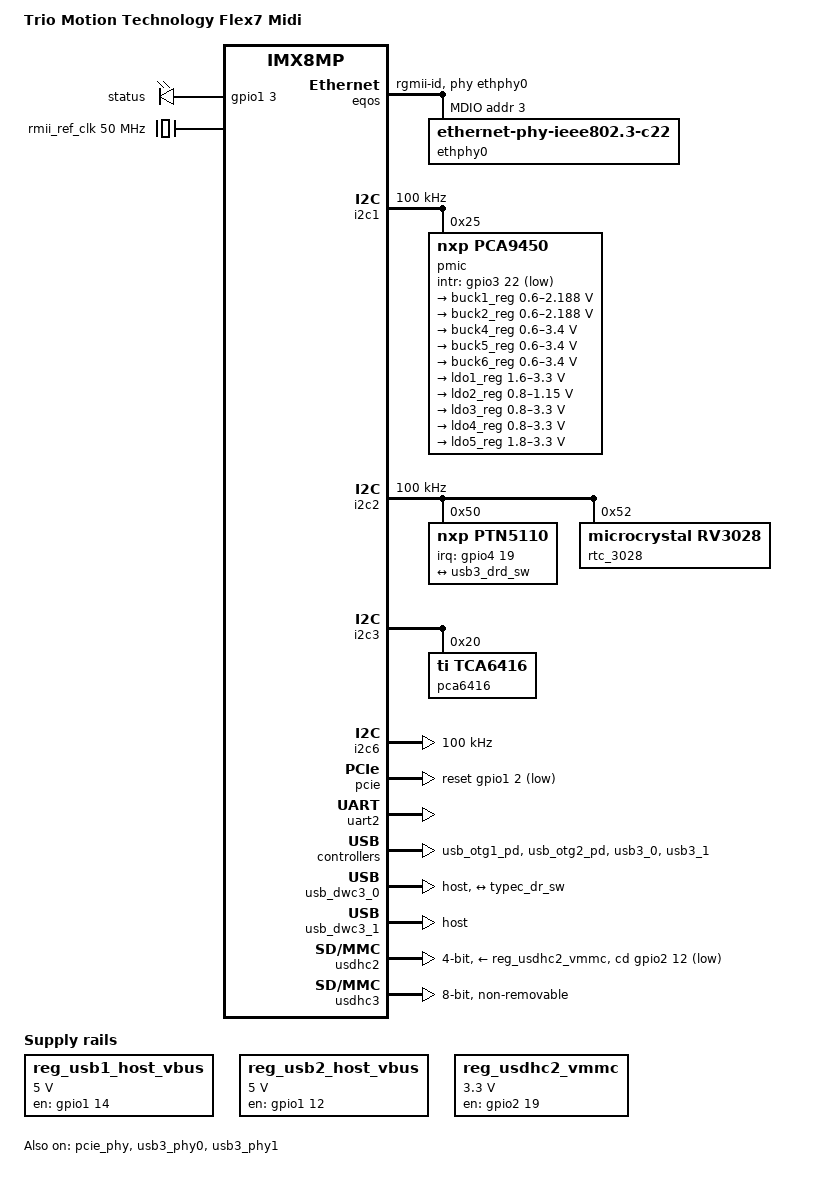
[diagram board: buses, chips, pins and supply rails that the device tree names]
// SPDX-License-Identifier: (GPL-2.0+ OR MIT)
/*
 * Copyright 2019 NXP
 */

/dts-v1/;

#include <dt-bindings/usb/pd.h>
#include "imx8mp_lv.dtsi"

/ {
	model = "Trio Motion Technology Flex7 Midi";
	compatible = "fsl,imx8mp-evk", "fsl,imx8mp";

	reserved-memory { 
		#address-cells = <2>;
		#size-cells = <2>;
		ranges;

		rpmsg_reserved: rpmsg@0x55800000 {
			no-map;
			reg = <0 0x55800000 0 0x800000>;
		};

        trio_reserved: trio@a4000000 {
            status = "ok";
            compatible = "trio";
            no-map;
            reg = <0 0xa4000000 0 0x16C00000>;
        };
	};


	chosen {
		stdout-path = &uart2;
	};

	leds {
		compatible = "gpio-leds";
		pinctrl-names = "default";
		pinctrl-0 = <&pinctrl_gpio_led>;

		status {
			label = "status";
			gpios = <&gpio1 3 GPIO_ACTIVE_HIGH>;
			default-state = "on"; /* LED GREEN */
		};
	};

	reg_usb1_host_vbus: regulator-usb1-vbus {
		compatible = "regulator-fixed";
		regulator-name = "usb1_host_vbus";
		pinctrl-names = "default";
		pinctrl-0 = <&pinctrl_usb1_vbus>;
		regulator-min-microvolt = <5000000>;
		regulator-max-microvolt = <5000000>;
		gpio = <&gpio1 14 GPIO_ACTIVE_HIGH>;
		enable-active-high;
		regulator-always-on;
	};

	reg_usb2_host_vbus: regulator-usb2-vbus {
		compatible = "regulator-fixed";
		regulator-name = "usb2_host_vbus";
		pinctrl-names = "default";
		pinctrl-0 = <&pinctrl_usb2_vbus>;
		regulator-min-microvolt = <5000000>;
		regulator-max-microvolt = <5000000>;
		gpio = <&gpio1 12 GPIO_ACTIVE_HIGH>;
		enable-active-high;
		regulator-always-on;
	};

	reg_usdhc2_vmmc: regulator-usdhc2 {
		compatible = "regulator-fixed";
		regulator-name = "VSD_3V3";
		regulator-min-microvolt = <3300000>;
		regulator-max-microvolt = <3300000>;
		gpio = <&gpio2 19 GPIO_ACTIVE_HIGH>;
		enable-active-high;
		startup-delay-us = <100>;
		off-on-delay-us = <12000>;
	};

/*
	cbtl04gp {
		compatible = "nxp,cbtl04gp";
		pinctrl-names = "default";
		pinctrl-0 = <&pinctrl_typec_mux>;
		switch-gpios = <&gpio4 20 GPIO_ACTIVE_LOW>;
		orientation-switch;

		port {
			usb3_data_ss: endpoint {
				remote-endpoint = <&typec_con_ss>;
			};
		};
	};
*/

	flex7: flex@a4000000 {
      #address-cells = <1>;
		#size-cells = <1>;
		reg = <0xa4000000 0x16800000
             0xb0000000 0x0a800000>;
		compatible = "trio,flex7";
		/* Int from core 3 on GPIO3_IO00 */
		/* Int to core 3 on GPIO3_IO01 not used */
      pinctrl-names = "default";
		pinctrl-0 = <&pinctrl_flex7_irq &pinctrl_wdog>;
		rx_irq_gpio = <&gpio3 0 GPIO_ACTIVE_HIGH>;
		tx_irq_gpio = <&gpio3 1 GPIO_ACTIVE_HIGH>;
      rx_irq_ack = <0x30330340 0x100>;   /* pull down */
      tx_irq_trig = <0x3033344 0x140>;   /* pull up */     
      reset-gpios = <&gpio3 21 GPIO_ACTIVE_LOW>;
      status = "disabled";
   };

};


&clk {
	init-on-array = <IMX8MP_CLK_HSIO_ROOT IMX8MP_CLK_ECSPI2_ROOT IMX8MP_CLK_ENET_PHY_REF IMX8MP_CLK_ENET_REF>;

	/* ref_clk for ethercat phy */
	rmii_ref_clk: rmii_ref_clk_grp {
		compatible = "fixed-clock";
		#clock-cells = <0>;
		clock-frequency = <50000000>;
		clock-output-names = "rmii-ref";
	};
};

&A53_0 {
	cpu-supply = <&buck2_reg>;
};

&ecspi1 {
	#address-cells = <1>;
	#size-cells = <0>;
	fsl,spi-num-chipselects = <1>;
	pinctrl-names = "default";
   cs-gpios = <&gpio5 9 GPIO_ACTIVE_LOW>;
	pinctrl-0 = <&pinctrl_ecspi1 &pinctrl_ecspi1_cs>;
   status = "disabled";

	spidev0: spi@0 {
		reg = <0>;
		compatible = "rohm,dh2228fv";
		spi-max-frequency = <100000>;
   	status = "okay";
	};
};

&ecspi2 {
	#address-cells = <1>;
	#size-cells = <0>;
	fsl,spi-num-chipselects = <1>;
	pinctrl-names = "default";
	pinctrl-0 = <&pinctrl_ecspi2 &pinctrl_ecspi2_cs>;
	cs-gpios = <&gpio5 13 GPIO_ACTIVE_LOW>;
   status = "disabled";

	spidev1: spi@0 {
		reg = <0>;
		compatible = "rohm,dh2228fv";
		spi-max-frequency = <3000000>;
   	status = "disabled";
	};
};

&eqos {         /* Ethernet port 2 / Ethercat NT2   30bf0000 */
	pinctrl-names = "default";
	pinctrl-0 = <&pinctrl_eqos>;
	phy-mode = "rgmii-id";
	phy-handle = <&ethphy0>;
   trio-mac-idx = <1>; 
	status = "okay";

	mdio {
		compatible = "snps,dwmac-mdio";  
		#address-cells = <1>;
		#size-cells = <0>;

		ethphy0: ethernet-phy@3 {
			compatible = "ethernet-phy-ieee802.3-c22";
			reg = <3>;
			status = "okay";
		};
	};
};

&fec {      /* Ethercat NT1 RMII to MII   30be0000 */
	pinctrl-names = "default";
	pinctrl-0 = <&pinctrl_fec>;
	phy-mode = "rmii";
	phy-handle = <&ethphy1>;
   fsl,magic-packet;
	
   phy-reset-gpios = <&gpio1 9 GPIO_ACTIVE_LOW>;
   phy-reset-post-delay = <10>;
   phy2-reset-gpios = <&gpio4 8 GPIO_ACTIVE_LOW>;
   transformerless; 
   extra-phys-mdio-en = <&gpio5 23 GPIO_ACTIVE_HIGH>;


   assigned-clocks = <&clk IMX8MP_CLK_ENET_REF>;
   assigned-clock-parents = <&clk IMX8MP_SYS_PLL2_50M>;
   assigned-clock-rates = <50000000>;

   status = "disabled";

	mdio {
		#address-cells = <1>;
		#size-cells = <0>;

		ethphy1: ethernet-phy@1 {
			compatible = "ethernet-phy-ieee802.3-c22";
			reg = <1>;
			eee-broken-1000t;
         speed = <100>;    /* 100Mb only */
         clocks = <&rmii_ref_clk>;
			clock-names = "rmii-ref";
         status = "okay";
		};

		ethphy2_0: ethernet-phy2@2 {
			compatible = "ethernet-phy-ieee802.3-c22";
			reg = <2>;
			eee-broken-1000t;
         speed = <100>; 
         clocks = <&rmii_ref_clk>;
			clock-names = "rmii-ref";
         status = "okay";
		};

		ethphy3_0: ethernet-phy2@0 {
			compatible = "ethernet-phy-ieee802.3-c22";
			reg = <0>;
			eee-broken-1000t;
         speed = <100>; 
         clocks = <&rmii_ref_clk>;
			clock-names = "rmii-ref";
         status = "okay";
		};

	};
};

&i2c1 {
	clock-frequency = <100000>;
	pinctrl-names = "default";
	pinctrl-0 = <&pinctrl_i2c1>;
	status = "okay";

	pmic: pca9450@25 {
		reg = <0x25>;
		compatible = "nxp,pca9450";
		/* PMIC PCA9450 PMIC_nINT GPIO3_IO22 */
		pinctrl-0 = <&pinctrl_pmic>;
		gpio_intr = <&gpio3 22 GPIO_ACTIVE_LOW>;
      pca9450,pmic-buck1-uses-i2c-dvs = <1>;
      /* Run/Standby voltage */
      pca9450,pmic-buck1-dvs-voltage = <850000>, <850000>;
      pca9450,pmic-buck2-uses-i2c-dvs = <1>;
      /* Run/Standby voltage */
      pca9450,pmic-buck2-dvs-voltage = <850000>, <850000>;

		regulators {
			#address-cells = <1>;
			#size-cells = <0>;


			buck1_reg: regulator@0 {
				reg = <0>;
				regulator-compatible = "buck1";
				regulator-min-microvolt = <600000>;
				regulator-max-microvolt = <2187500>;
				regulator-boot-on;
				regulator-always-on;
				regulator-ramp-delay = <3125>;
			};

			buck2_reg: regulator@1 {
				reg = <1>;
				regulator-compatible = "buck2";
				regulator-min-microvolt = <600000>;
				regulator-max-microvolt = <2187500>;
				regulator-boot-on;
				regulator-always-on;
				regulator-ramp-delay = <3125>;
			};

			buck4_reg: regulator@3 {
				reg = <3>;
				regulator-compatible = "buck4";
				regulator-min-microvolt = <600000>;
				regulator-max-microvolt = <3400000>;
				regulator-boot-on;
				regulator-always-on;
			};

			buck5_reg: regulator@4 {
				reg = <4>;
				regulator-compatible = "buck5";
				regulator-min-microvolt = <600000>;
				regulator-max-microvolt = <3400000>;
				regulator-boot-on;
				regulator-always-on;
			};

			buck6_reg: regulator@5 {
				reg = <5>;
				regulator-compatible = "buck6";
				regulator-min-microvolt = <600000>;
				regulator-max-microvolt = <3400000>;
				regulator-boot-on;
				regulator-always-on;
			};

			ldo1_reg: regulator@6 {
				reg = <6>;
				regulator-compatible = "ldo1";
				regulator-min-microvolt = <1600000>;
				regulator-max-microvolt = <3300000>;
				regulator-boot-on;
				regulator-always-on;
			};

			ldo2_reg: regulator@7 {
				reg = <7>;
				regulator-compatible = "ldo2";
				regulator-min-microvolt = <800000>;
				regulator-max-microvolt = <1150000>;
				regulator-boot-on;
				regulator-always-on;
			};

			ldo3_reg: regulator@8 {
				reg = <8>;
				regulator-compatible = "ldo3";
				regulator-min-microvolt = <800000>;
				regulator-max-microvolt = <3300000>;
				regulator-boot-on;
				regulator-always-on;
			};

			ldo4_reg: regulator@9 {
				reg = <9>;
				regulator-compatible = "ldo4";
				regulator-min-microvolt = <800000>;
				regulator-max-microvolt = <3300000>;
				regulator-boot-on;
				regulator-always-on;
			};

			ldo5_reg: regulator@10 {
				reg = <10>;
				regulator-compatible = "ldo5";
				regulator-min-microvolt = <1800000>;
				regulator-max-microvolt = <3300000>;
			};
		};
	};
};

&i2c2 {
	clock-frequency = <100000>;
	pinctrl-names = "default";
	pinctrl-0 = <&pinctrl_i2c2>;
	status = "okay";

	ptn5110: tcpc@50 {
		compatible = "nxp,ptn5110";
		pinctrl-names = "default";
		pinctrl-0 = <&pinctrl_typec>;
		reg = <0x50>;
		interrupt-parent = <&gpio4>;
		interrupts = <19 8>;

		port {
			typec_dr_sw: endpoint {
				remote-endpoint = <&usb3_drd_sw>;
			};
		};

/*
		usb_con: connector {
			compatible = "usb-c-connector";
			label = "USB-C";
			power-role = "dual";
			data-role = "dual";
			try-power-role = "sink";
			source-pdos = <PDO_FIXED(5000, 3000, PDO_FIXED_USB_COMM)>;
			sink-pdos = <PDO_FIXED(5000, 3000, PDO_FIXED_USB_COMM)
				     PDO_VAR(5000, 20000, 3000)>;
			op-sink-microwatt = <15000000>;
			self-powered;

			ports {
				#address-cells = <1>;
				#size-cells = <0>;

				port@1 {
					reg = <1>;
					typec_con_ss: endpoint {
						remote-endpoint = <&usb3_data_ss>;
					};
				};
			};
		};
*/
    };

   rtc_3028: rtc@52 {
         compatible = "microcrystal,rv3028";
         reg = <0x52>;
         trickle-resistor-ohms = <3000>;
         battery-backed = <1>;
         status = "okay";
   };
};

&i2c3 {
	pinctrl-names = "default";
	pinctrl-0 = <&pinctrl_i2c3>;
	status = "okay";

	pca6416: gpio@20 {
		compatible = "ti,tca6416";
		reg = <0x20>;
		gpio-controller;
		#gpio-cells = <2>;
	};
};

&i2c6 {
	clock-frequency = <100000>;
	pinctrl-names = "default";
	pinctrl-0 = <&pinctrl_i2c6>;
   status = "okay";
};


&flexcan2 {
	pinctrl-names = "default";
	pinctrl-0 = <&pinctrl_flexcan2>;
	status = "disabled";
};


&pcie{
	pinctrl-names = "default";
	pinctrl-0 = <&pinctrl_pcie>;
/*	disable-gpio = <&gpio2 6 GPIO_ACTIVE_LOW>; */ 
	reset-gpio = <&gpio1 2 GPIO_ACTIVE_LOW>;   /*pciephy_perst*/
	clocks = <&clk IMX8MP_CLK_HSIO_AXI_DIV>,
		 <&clk IMX8MP_CLK_PCIE_AUX>,
		 <&clk IMX8MP_CLK_PCIE_PHY>,
		 <&clk IMX8MP_CLK_PCIE_ROOT>;
	clock-names = "pcie", "pcie_aux", "pcie_phy", "pcie_bus";
	assigned-clocks = <&clk IMX8MP_CLK_HSIO_AXI_SRC>,
			  <&clk IMX8MP_CLK_PCIE_AUX>;
	assigned-clock-parents = <&clk IMX8MP_SYS_PLL2_500M>,
				 <&clk IMX8MP_SYS_PLL2_50M>;
	reserved-region = <&rpmsg_reserved>;
	status = "okay";
};

&pcie_phy{
	ext_osc = <0>;
	status = "okay";
};

&uart2 {
	/* console */
	pinctrl-names = "default";
	pinctrl-0 = <&pinctrl_uart2>;
	status = "okay";
};

&usb_otg1_pd {
   status = "okay";
};

&usb_otg2_pd {
   status = "okay";
};

&usb3_phy0 {
	fsl,phy-tx-vref-tune = <6>;
	fsl,phy-tx-rise-tune = <0>;
	fsl,phy-tx-preemp-amp-tune = <3>;
	fsl,phy-comp-dis-tune = <7>;
	fsl,pcs-tx-deemph-3p5db = <0x21>;
	fsl,phy-pcs-tx-swing-full = <0x7f>;
	status = "okay";
};

&usb3_0 {
	status = "okay";
};

&usb_dwc3_0 {
	dr_mode = "host";
	hnp-disable;
	srp-disable;
	adp-disable;
	usb-role-switch;
   maximum-speed = "high-speed";
	status = "okay";

	port {
		usb3_drd_sw: endpoint {
			remote-endpoint = <&typec_dr_sw>;
		};
	};
};

&usb3_phy1 {
	fsl,phy-tx-preemp-amp-tune = <2>;
	status = "okay";
};

&usb3_1 {
	status = "okay";
};

&usb_dwc3_1 {
	dr_mode = "host";
   hnp-disable;
	srp-disable;
	adp-disable;
	usb-role-switch;
   maximum-speed = "high-speed";
	status = "okay";
};

&usdhc2 {
	pinctrl-names = "default", "state_100mhz", "state_200mhz";
	pinctrl-0 = <&pinctrl_usdhc2>, <&pinctrl_usdhc2_gpio>;
	pinctrl-1 = <&pinctrl_usdhc2_100mhz>, <&pinctrl_usdhc2_gpio>;
	pinctrl-2 = <&pinctrl_usdhc2_200mhz>, <&pinctrl_usdhc2_gpio>;
	cd-gpios = <&gpio2 12 GPIO_ACTIVE_LOW>;
	vmmc-supply = <&reg_usdhc2_vmmc>;
	bus-width = <4>;
	status = "okay";
};

&usdhc3 {
	pinctrl-names = "default", "state_100mhz", "state_200mhz";
	pinctrl-0 = <&pinctrl_usdhc3>;
	pinctrl-1 = <&pinctrl_usdhc3_100mhz>;
	pinctrl-2 = <&pinctrl_usdhc3_200mhz>;
	bus-width = <8>;
	non-removable;
	status = "okay";
};

&wdog1 {
	pinctrl-names = "default";
	pinctrl-0 = <&pinctrl_wdog>;
	fsl,ext-reset-output;
	status = "disabled";
};

&iomuxc {
	pinctrl-names = "default";
	pinctrl-0 = <&pinctrl_usb_pwr>;

   pinctrl_usb_pwr: usbpwrgrp {
	   fsl,pins = <
         MX8MP_IOMUXC_GPIO1_IO12__GPIO1_IO12 0x0
         MX8MP_IOMUXC_GPIO1_IO14__GPIO1_IO14 0x0
         MX8MP_IOMUXC_GPIO1_IO07__GPIO1_IO07 0x0
         MX8MP_IOMUXC_GPIO1_IO11__GPIO1_IO11 0x0
		>;
   };

	pinctrl_ecspi1: ecspi1grp {
		fsl,pins = <
			MX8MP_IOMUXC_ECSPI1_SCLK__ECSPI1_SCLK		0x82
			MX8MP_IOMUXC_ECSPI1_MOSI__ECSPI1_MOSI		0x82
			MX8MP_IOMUXC_ECSPI1_MISO__ECSPI1_MISO		0x82
		>;
	};

	pinctrl_ecspi1_cs: ecspi1cs {
		fsl,pins = <
			MX8MP_IOMUXC_ECSPI1_SS0__GPIO5_IO09		0x82 
/*			MX8MP_IOMUXC_ECSPI1_SS0__ECSPI1_SS0		0x82    */
		>;
	};

	pinctrl_ecspi2: ecspi2grp {
		fsl,pins = <
			MX8MP_IOMUXC_ECSPI2_SCLK__ECSPI2_SCLK		0x82
			MX8MP_IOMUXC_ECSPI2_MOSI__ECSPI2_MOSI		0x82
          /* command/data line for OLED*/
         MX8MP_IOMUXC_GPIO1_IO05__GPIO1_IO05              0x0
		>;
	};

	pinctrl_ecspi2_cs: ecspi2cs {
		fsl,pins = <
			MX8MP_IOMUXC_ECSPI2_SS0__GPIO5_IO13		0x40000
		>;
	};

	pinctrl_eqos: eqosgrp {
		fsl,pins = <
			MX8MP_IOMUXC_ENET_MDC__ENET_QOS_MDC	 0x3 
			MX8MP_IOMUXC_ENET_MDIO__ENET_QOS_MDIO  	0x152  /* 0x3 */
			MX8MP_IOMUXC_ENET_RD0__ENET_QOS_RGMII_RD0	0x91 /* 0x91 */
			MX8MP_IOMUXC_ENET_RD1__ENET_QOS_RGMII_RD1	0x91 /* 0x1d1 */
			MX8MP_IOMUXC_ENET_RD2__ENET_QOS_RGMII_RD2	0x91 /* 0x1d1 */
			MX8MP_IOMUXC_ENET_RD3__ENET_QOS_RGMII_RD3	0x91 /* 0x1d1 */
			MX8MP_IOMUXC_ENET_RXC__CCM_ENET_QOS_CLOCK_GENERATE_RX_CLK	0x91
			MX8MP_IOMUXC_ENET_RX_CTL__ENET_QOS_RGMII_RX_CTL	0x91 /* 0x91 */
			MX8MP_IOMUXC_ENET_TD0__ENET_QOS_RGMII_TD0	0x1f	/* 0x1f */
			MX8MP_IOMUXC_ENET_TD1__ENET_QOS_RGMII_TD1	0x1f	/* 0x1f */
			MX8MP_IOMUXC_ENET_TD2__ENET_QOS_RGMII_TD2	0x1f	/* 0x1f */
			MX8MP_IOMUXC_ENET_TD3__ENET_QOS_RGMII_TD3	0x1f	/* 0x1f */
			MX8MP_IOMUXC_ENET_TX_CTL__ENET_QOS_RGMII_TX_CTL 0x1f	/* 0x1f */
 			MX8MP_IOMUXC_ENET_TXC__CCM_ENET_QOS_CLOCK_GENERATE_TX_CLK 0x1f	/* 0x1f */
		>;
	};

	pinctrl_fec: fecgrp {
		fsl,pins = <
         MX8MP_IOMUXC_SAI1_MCLK__ENET1_TX_CLK   0x4000001f 
			MX8MP_IOMUXC_SAI1_RXD2__ENET1_MDC		0x3
			MX8MP_IOMUXC_SAI1_RXD3__ENET1_MDIO		0x152
			MX8MP_IOMUXC_SAI1_RXD4__ENET1_RGMII_RD0		0x91
			MX8MP_IOMUXC_SAI1_RXD5__ENET1_RGMII_RD1		0x91
			MX8MP_IOMUXC_SAI1_TXFS__ENET1_RGMII_RX_CTL	0x91
			MX8MP_IOMUXC_SAI1_TXD0__ENET1_RGMII_TD0		0x1f
			MX8MP_IOMUXC_SAI1_TXD1__ENET1_RGMII_TD1		0x1f
			MX8MP_IOMUXC_SAI1_TXD4__ENET1_RGMII_TX_CTL	0x1f
			MX8MP_IOMUXC_SAI1_TXD6__ENET1_RX_ER		0x15f

/* ECAT specific */
			MX8MP_IOMUXC_SAI1_RXD6__GPIO4_IO08		0x20
         MX8MP_IOMUXC_GPIO1_IO09__GPIO1_IO09    0x20   /* Open Drain */
         MX8MP_IOMUXC_UART1_TXD__GPIO5_IO23    0x0
         MX8MP_IOMUXC_GPIO1_IO10__GPIO1_IO10   0x0      /* Link activity on 3rd phy, input only */
		>;
	};

	pinctrl_flexcan2: flexcan2grp {
		fsl,pins = <
			MX8MP_IOMUXC_UART3_RXD__CAN2_TX		0x154
			MX8MP_IOMUXC_UART3_TXD__CAN2_RX		0x154
		>;
	};

	pinctrl_gpio_led: gpioledgrp {
		fsl,pins = <
			MX8MP_IOMUXC_GPIO1_IO03__GPIO1_IO03	0x19
		>;
	};

	pinctrl_i2c1: i2c1grp {
		fsl,pins = <
			MX8MP_IOMUXC_I2C1_SCL__I2C1_SCL		0x400001c3
			MX8MP_IOMUXC_I2C1_SDA__I2C1_SDA		0x400001c3
		>;
	};

	pinctrl_i2c2: i2c2grp {
		fsl,pins = <
			MX8MP_IOMUXC_I2C2_SCL__I2C2_SCL			0x400001c3
			MX8MP_IOMUXC_I2C2_SDA__I2C2_SDA			0x400001c3
		>;
	};

	pinctrl_i2c3: i2c3grp {
		fsl,pins = <
			MX8MP_IOMUXC_I2C3_SCL__I2C3_SCL			0x400001c3
			MX8MP_IOMUXC_I2C3_SDA__I2C3_SDA			0x400001c3
		>;
	};
   
   pinctrl_i2c6: i2c6grp {
		fsl,pins = <
			MX8MP_IOMUXC_UART4_RXD__I2C6_SCL			0x400001c3
			MX8MP_IOMUXC_UART4_TXD__I2C6_SDA			0x400001c3
		>;
	};

	pinctrl_pcie: pciegrp {
		fsl,pins = <
			MX8MP_IOMUXC_I2C4_SCL__HSIOMIX_PCIE_CLKREQ_B	0x20 /* PCIe_CLKREQn open drain */
			MX8MP_IOMUXC_I2C4_SDA__GPIO5_IO21   0x20        /* wake */ 
			MX8MP_IOMUXC_GPIO1_IO02__GPIO1_IO02		0x0      /* reset-gpio */
   	>;
	};

	pinctrl_pmic: pmicirq {
		fsl,pins = <
			MX8MP_IOMUXC_SAI5_RXD1__GPIO3_IO22	0x41
		>;
	};

	pinctrl_typec: typec1grp {
		fsl,pins = <
			MX8MP_IOMUXC_SAI1_TXD7__GPIO4_IO19	0x1c4
		>;
	};

	pinctrl_typec_mux: typec1muxgrp {
		fsl,pins = <
			MX8MP_IOMUXC_SAI1_MCLK__GPIO4_IO20	0x16
		>;
	};



	pinctrl_i2c2_synaptics_dsx_io: synaptics_dsx_iogrp {
		fsl,pins = <
			MX8MP_IOMUXC_GPIO1_IO09__GPIO1_IO09		0x16
		>;
	};

	pinctrl_uart1: uart1grp {
		fsl,pins = <
			MX8MP_IOMUXC_UART1_RXD__UART1_DCE_RX	0x140
			MX8MP_IOMUXC_UART1_TXD__UART1_DCE_TX	0x140
			MX8MP_IOMUXC_UART3_RXD__UART1_DCE_CTS	0x140
			MX8MP_IOMUXC_UART3_TXD__UART1_DCE_RTS	0x140
		>;
	};

	pinctrl_uart2: uart2grp {
		fsl,pins = <
/*
   ORIGINAL SETTING FOR FUNCTIONING TX/RX 
			MX8MP_IOMUXC_UART2_RXD__UART2_DCE_RX	0x146
			MX8MP_IOMUXC_UART2_TXD__UART2_DCE_TX	0x106
   FOR PRODUCTION, WE DISABLE THE UART PINS. THE UART IS PATCHED TO CONNECT TO
   INACCESSIBLE/ UNUSED PINS. PULLUP IS APPLIED TO RX SO THE LEVEL CANT
   DRIFT LOW TO GENERATE A CHARACTER START PULSE 
*/
   	MX8MP_IOMUXC_UART2_RXD__GPIO5_IO24     0x0
   	MX8MP_IOMUXC_UART2_TXD__GPIO5_IO25     0x0
	   MX8MP_IOMUXC_SAI3_TXFS__UART2_DCE_RX   0x146
	   MX8MP_IOMUXC_SAI3_TXC__UART2_DCE_TX    0x106
		>;
	};

	pinctrl_uart3: uart3grp {
		fsl,pins = <
			MX8MP_IOMUXC_ECSPI1_SCLK__UART3_DCE_RX		0x140
			MX8MP_IOMUXC_ECSPI1_MOSI__UART3_DCE_TX		0x140
			MX8MP_IOMUXC_ECSPI1_SS0__UART3_DCE_RTS		0x140
			MX8MP_IOMUXC_ECSPI1_MISO__UART3_DCE_CTS		0x140
		>;
	};

	pinctrl_usb1_vbus: usb1grp {
		fsl,pins = <
			MX8MP_IOMUXC_GPIO1_IO14__GPIO1_IO14	0x19
		>;
	};

	pinctrl_usb2_vbus: usb2grp {
		fsl,pins = <
			MX8MP_IOMUXC_GPIO1_IO12__GPIO1_IO12	0x19
		>;
	};

	pinctrl_usdhc1: usdhc1grp {
		fsl,pins = <
			MX8MP_IOMUXC_SD1_CLK__USDHC1_CLK	0x190
			MX8MP_IOMUXC_SD1_CMD__USDHC1_CMD	0x1d0
			MX8MP_IOMUXC_SD1_DATA0__USDHC1_DATA0	0x1d0
			MX8MP_IOMUXC_SD1_DATA1__USDHC1_DATA1	0x1d0
			MX8MP_IOMUXC_SD1_DATA2__USDHC1_DATA2	0x1d0
			MX8MP_IOMUXC_SD1_DATA3__USDHC1_DATA3	0x1d0
		>;
	};

	pinctrl_usdhc1_100mhz: usdhc1grp-100mhz {
		fsl,pins = <
			MX8MP_IOMUXC_SD1_CLK__USDHC1_CLK	0x194
			MX8MP_IOMUXC_SD1_CMD__USDHC1_CMD	0x1d4
			MX8MP_IOMUXC_SD1_DATA0__USDHC1_DATA0	0x1d4
			MX8MP_IOMUXC_SD1_DATA1__USDHC1_DATA1	0x1d4
			MX8MP_IOMUXC_SD1_DATA2__USDHC1_DATA2	0x1d4
			MX8MP_IOMUXC_SD1_DATA3__USDHC1_DATA3	0x1d4
		>;
	};

	pinctrl_usdhc1_200mhz: usdhc1grp-200mhz {
		fsl,pins = <
			MX8MP_IOMUXC_SD1_CLK__USDHC1_CLK	0x196
			MX8MP_IOMUXC_SD1_CMD__USDHC1_CMD	0x1d6
			MX8MP_IOMUXC_SD1_DATA0__USDHC1_DATA0	0x1d6
			MX8MP_IOMUXC_SD1_DATA1__USDHC1_DATA1	0x1d6
			MX8MP_IOMUXC_SD1_DATA2__USDHC1_DATA2	0x1d6
			MX8MP_IOMUXC_SD1_DATA3__USDHC1_DATA3	0x1d6
		>;
	};

	pinctrl_usdhc2_gpio: usdhc2grp-gpio {
		fsl,pins = <
			MX8MP_IOMUXC_SD2_CD_B__GPIO2_IO12 	0x1c4
			MX8MP_IOMUXC_SD2_RESET_B__GPIO2_IO19	0x41
		>;
	};

	pinctrl_usdhc2: usdhc2grp {
		fsl,pins = <
			MX8MP_IOMUXC_SD2_CLK__USDHC2_CLK	0x196
			MX8MP_IOMUXC_SD2_CMD__USDHC2_CMD	0x1d6
			MX8MP_IOMUXC_SD2_DATA0__USDHC2_DATA0	0x1d6
			MX8MP_IOMUXC_SD2_DATA1__USDHC2_DATA1	0x1d6
			MX8MP_IOMUXC_SD2_DATA2__USDHC2_DATA2	0x1d6
			MX8MP_IOMUXC_SD2_DATA3__USDHC2_DATA3	0x1d6
			MX8MP_IOMUXC_GPIO1_IO04__USDHC2_VSELECT	0xc1
		>;
	};

	pinctrl_usdhc2_100mhz: usdhc2grp-100mhz {
		fsl,pins = <
			MX8MP_IOMUXC_SD2_CLK__USDHC2_CLK	0x196
			MX8MP_IOMUXC_SD2_CMD__USDHC2_CMD	0x1d6
			MX8MP_IOMUXC_SD2_DATA0__USDHC2_DATA0	0x1d6
			MX8MP_IOMUXC_SD2_DATA1__USDHC2_DATA1	0x1d6
			MX8MP_IOMUXC_SD2_DATA2__USDHC2_DATA2	0x1d6
			MX8MP_IOMUXC_SD2_DATA3__USDHC2_DATA3	0x1d6
			MX8MP_IOMUXC_GPIO1_IO04__USDHC2_VSELECT 0xc1
		>;
	};

	pinctrl_usdhc2_200mhz: usdhc2grp-200mhz {
		fsl,pins = <
			MX8MP_IOMUXC_SD2_CLK__USDHC2_CLK	0x196
			MX8MP_IOMUXC_SD2_CMD__USDHC2_CMD	0x1d6
			MX8MP_IOMUXC_SD2_DATA0__USDHC2_DATA0	0x1d6
			MX8MP_IOMUXC_SD2_DATA1__USDHC2_DATA1	0x1d6
			MX8MP_IOMUXC_SD2_DATA2__USDHC2_DATA2	0x1d6
			MX8MP_IOMUXC_SD2_DATA3__USDHC2_DATA3	0x1d6
			MX8MP_IOMUXC_GPIO1_IO04__USDHC2_VSELECT 0xc1
		>;
	};

	pinctrl_usdhc3: usdhc3grp {
		fsl,pins = <
			MX8MP_IOMUXC_NAND_WE_B__USDHC3_CLK	0x190
			MX8MP_IOMUXC_NAND_WP_B__USDHC3_CMD	0x1d0
			MX8MP_IOMUXC_NAND_DATA04__USDHC3_DATA0	0x1d0
			MX8MP_IOMUXC_NAND_DATA05__USDHC3_DATA1	0x1d0
			MX8MP_IOMUXC_NAND_DATA06__USDHC3_DATA2	0x1d0
			MX8MP_IOMUXC_NAND_DATA07__USDHC3_DATA3	0x1d0
			MX8MP_IOMUXC_NAND_RE_B__USDHC3_DATA4	0x1d0
			MX8MP_IOMUXC_NAND_CE2_B__USDHC3_DATA5	0x1d0
			MX8MP_IOMUXC_NAND_CE3_B__USDHC3_DATA6	0x1d0
			MX8MP_IOMUXC_NAND_CLE__USDHC3_DATA7	0x1d0
			MX8MP_IOMUXC_NAND_CE1_B__USDHC3_STROBE	0x190
		>;
	};

	pinctrl_usdhc3_100mhz: usdhc3grp-100mhz {
		fsl,pins = <
			MX8MP_IOMUXC_NAND_WE_B__USDHC3_CLK	0x194
			MX8MP_IOMUXC_NAND_WP_B__USDHC3_CMD	0x1d4
			MX8MP_IOMUXC_NAND_DATA04__USDHC3_DATA0	0x1d4
			MX8MP_IOMUXC_NAND_DATA05__USDHC3_DATA1	0x1d4
			MX8MP_IOMUXC_NAND_DATA06__USDHC3_DATA2	0x1d4
			MX8MP_IOMUXC_NAND_DATA07__USDHC3_DATA3	0x1d4
			MX8MP_IOMUXC_NAND_RE_B__USDHC3_DATA4	0x1d4
			MX8MP_IOMUXC_NAND_CE2_B__USDHC3_DATA5	0x1d4
			MX8MP_IOMUXC_NAND_CE3_B__USDHC3_DATA6	0x1d4
			MX8MP_IOMUXC_NAND_CLE__USDHC3_DATA7	0x1d4
			MX8MP_IOMUXC_NAND_CE1_B__USDHC3_STROBE	0x194
		>;
	};

	pinctrl_usdhc3_200mhz: usdhc3grp-200mhz {
		fsl,pins = <
			MX8MP_IOMUXC_NAND_WE_B__USDHC3_CLK	0x196
			MX8MP_IOMUXC_NAND_WP_B__USDHC3_CMD	0x1d6
			MX8MP_IOMUXC_NAND_DATA04__USDHC3_DATA0	0x1d6
			MX8MP_IOMUXC_NAND_DATA05__USDHC3_DATA1	0x1d6
			MX8MP_IOMUXC_NAND_DATA06__USDHC3_DATA2	0x1d6
			MX8MP_IOMUXC_NAND_DATA07__USDHC3_DATA3	0x1d6
			MX8MP_IOMUXC_NAND_RE_B__USDHC3_DATA4	0x1d6
			MX8MP_IOMUXC_NAND_CE2_B__USDHC3_DATA5	0x1d6
			MX8MP_IOMUXC_NAND_CE3_B__USDHC3_DATA6	0x1d6
			MX8MP_IOMUXC_NAND_CLE__USDHC3_DATA7	0x1d6
			MX8MP_IOMUXC_NAND_CE1_B__USDHC3_STROBE	0x196
		>;
	};

	pinctrl_wdog: wdoggrp {    
		fsl,pins = <
         MX8MP_IOMUXC_SAI5_RXD0__GPIO3_IO21	0x20 /* Open drain*/
		>;
	};

	pinctrl_csi0_pwn: csi0_pwn_grp {
		fsl,pins = <
			MX8MP_IOMUXC_SD1_STROBE__GPIO2_IO11	0x19
		>;
	};

	pinctrl_csi0_rst: csi0_rst_grp {
		fsl,pins = <
			MX8MP_IOMUXC_GPIO1_IO06__GPIO1_IO06		0x19
			MX8MP_IOMUXC_GPIO1_IO15__CCMSRCGPCMIX_CLKO2	0x59
		>;
	};

   pinctrl_flex7_irq: flex_irq_grp {
		fsl,pins = <
			MX8MP_IOMUXC_NAND_ALE__GPIO3_IO00	0x100     /* weak pull down */
			MX8MP_IOMUXC_NAND_CE0_B__GPIO3_IO01	0x100
		>;
	};
};


&snvs {
   status = "disabled";
};
